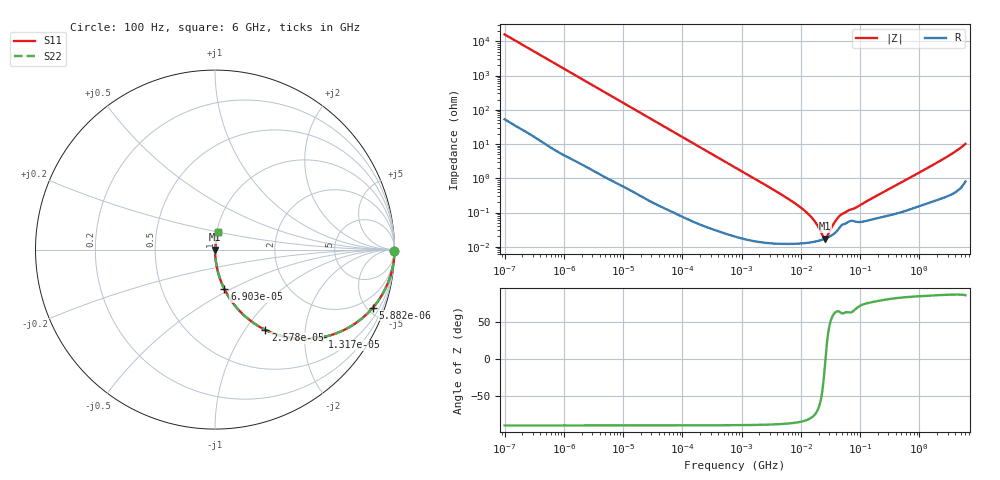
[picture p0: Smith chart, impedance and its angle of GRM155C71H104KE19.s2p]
!Murata Part Number: GRM155C71H104KE19
!These Parameters are Measured in Series Mode Connection
!Data Generated on Mar 30, 2021
!  o--ll--o
!Port1  Port2
!  o------o
!Operation Temp=25[degC], DC Bias Voltage=0[V]
!Freq. Start=100[Hz] Stop=6[GHz] 401[Steps]
# Hz S RI R 50
!Freq.(Hz) S11(Real) S11(Imag) S21(Real) S21(Imag) S12(Real) S12(Imag) S22(Real) S22(Imag)
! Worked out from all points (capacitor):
!   401 points, 100 Hz to 6 GHz, reference 50 ohm
!   read as one part in series: C = 100 nF near 109 Hz
!   lowest |Z| = 17.4 mohm at 25.46 MHz (marker M1)
!   series resonance near 26.1 MHz, so ESL is about 370 pH
!   S11 on the Smith chart (normalised r, x): 100 Hz: open; 5.882 kHz: 1.02, -5.45; 13.17 kHz: 1.01, -2.44; 25.78 kHz: 1.00, -1.25; 69.03 kHz: 1.00, -0.47; 6 GHz: 1.02, +0.20
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100  0.9999 -0.00629  6.05e-05 0.00629  6.05e-05 0.00629  0.9999 -0.00629
627  0.9983 -0.0392  0.00166 0.0392  0.00166 0.0392  0.9983 -0.0392
2008  0.9841 -0.1236  0.0159 0.1236  0.0159 0.1236  0.9841 -0.1236
5882  0.8803 -0.3229  0.1197 0.3229  0.1197 0.3229  0.8803 -0.3229
13169  0.5972 -0.4886  0.4028 0.4886  0.4028 0.4886  0.5972 -0.4886
25777  0.2806 -0.4474  0.7194 0.4474  0.7194 0.4474  0.2806 -0.4474
40335  0.1382 -0.3431  0.8618 0.3431  0.8618 0.3431  0.1382 -0.3431
69028  0.0525 -0.2208  0.9475 0.2208  0.9475 0.2208  0.0525 -0.2208
193316  0.00737 -0.0829  0.9926 0.0829  0.9926 0.0829  0.00737 -0.0829
774597  0.000635 -0.0209  0.9994 0.0209  0.9994 0.0209  0.000635 -0.0209
6644369  0.000126 -0.00229  0.9999 0.00229  0.9999 0.00229  0.000126 -0.00229
1.087309e7  0.000127 -0.00124  0.9999 0.00124  0.9999 0.00124  0.000127 -0.00124
1.555665e7  0.000136 -0.000674  0.9999 0.000674  0.9999 0.000674  0.000136 -0.000674
1.86079e7  0.000145 -0.000429  0.9999 0.000429  0.9999 0.000429  0.000145 -0.000429
2.327686e7  0.000162 -0.000143  0.9998 0.000143  0.9998 0.000143  0.000162 -0.000143
2.545746e7  0.000171 -3.07e-05  0.9998 3.07e-05  0.9998 3.07e-05  0.000171 -3.07e-05
2.784235e7  0.000183 8.12e-05  0.9998 -8.12e-05  0.9998 -8.12e-05  0.000183 8.12e-05
3.80911e7  0.000257 0.000487  0.9997 -0.000487  0.9997 -0.000487  0.000257 0.000487
4.764863e7  0.000409 0.000761  0.9996 -0.000761  0.9996 -0.000761  0.000409 0.000761
3.124326e8  0.000847 0.00481  0.9992 -0.00481  0.9992 -0.00481  0.000847 0.00481
2.34314e9  0.00365 0.0334  0.9964 -0.0334  0.9964 -0.0334  0.00365 0.0334
6e9  0.0179 0.0986  0.9821 -0.0986  0.9821 -0.0986  0.0179 0.0986
